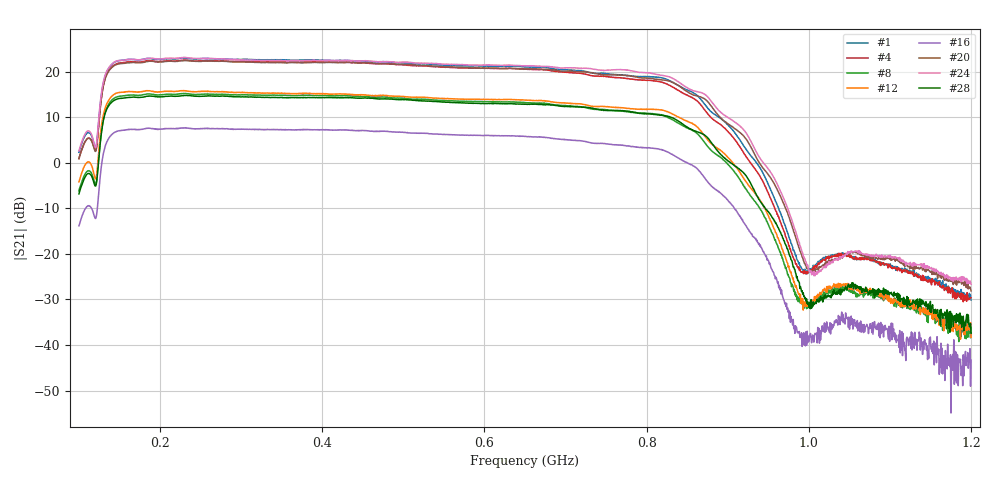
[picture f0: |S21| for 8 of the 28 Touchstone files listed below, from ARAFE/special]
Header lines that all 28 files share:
# Hz S DB R 50
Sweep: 100 MHz to 1.2 GHz
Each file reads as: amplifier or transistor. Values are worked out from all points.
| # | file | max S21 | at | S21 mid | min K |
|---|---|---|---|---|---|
| 1 | SIG0_ATT0_T0.s2p | 23.0 dB | 229.2 MHz | 21.0 dB at 650 MHz | 3.62 |
| 2 | SIG0_ATT0_T20.s2p | 22.7 dB | 227.2 MHz | 20.7 dB at 650 MHz | 3.79 |
| 3 | SIG0_ATT0_T30.s2p | 22.6 dB | 229.2 MHz | 20.6 dB at 650 MHz | 3.86 |
| 4 | SIG0_ATT0_T30_START.s2p | 22.5 dB | 229.2 MHz | 20.5 dB at 650 MHz | 4.09 |
| 5 | SIG0_ATT0_TN10.s2p | 23.2 dB | 229.2 MHz | 21.2 dB at 650 MHz | 3.32 |
| 6 | SIG0_ATT0_TN20.s2p | 23.4 dB | 227.9 MHz | 21.3 dB at 650 MHz | 3.37 |
| 7 | SIG0_ATT30_T0.s2p | 15.5 dB | 229.2 MHz | 13.5 dB at 650 MHz | 14.08 |
| 8 | SIG0_ATT30_T20.s2p | 15.2 dB | 229.2 MHz | 13.2 dB at 650 MHz | 15.15 |
| 9 | SIG0_ATT30_T30.s2p | 15.1 dB | 229.2 MHz | 13.0 dB at 650 MHz | 13.84 |
| 10 | SIG0_ATT30_T30_START.s2p | 15.1 dB | 229.9 MHz | 13.0 dB at 650 MHz | 14.85 |
| 11 | SIG0_ATT30_TN10.s2p | 15.7 dB | 229.2 MHz | 13.6 dB at 650 MHz | 13.43 |
| 12 | SIG0_ATT30_TN20.s2p | 15.9 dB | 229.2 MHz | 13.7 dB at 650 MHz | 11.20 |
| 13 | SIG0_ATT60_T0.s2p | 8.0 dB | 229.2 MHz | 6.2 dB at 650 MHz | 42.91 |
| 14 | SIG0_ATT60_T20.s2p | 7.8 dB | 229.2 MHz | 6.0 dB at 650 MHz | 51.61 |
| 15 | SIG0_ATT60_T30.s2p | 7.7 dB | 229.2 MHz | 5.8 dB at 650 MHz | 47.47 |
| 16 | SIG0_ATT60_T30_START.s2p | 7.7 dB | 232 MHz | 5.8 dB at 650 MHz | 40.22 |
| 17 | SIG0_ATT60_TN10.s2p | 8.2 dB | 227.9 MHz | 6.4 dB at 650 MHz | 38.23 |
| 18 | SIG0_ATT60_TN20.s2p | 8.4 dB | 185.2 MHz | 6.5 dB at 650 MHz | 42.59 |
| 19 | SIG1_ATT0_T0.s2p | 22.8 dB | 229.2 MHz | 20.9 dB at 650 MHz | 3.69 |
| 20 | SIG1_ATT0_T20.s2p | 22.5 dB | 232 MHz | 20.5 dB at 650 MHz | 3.94 |
| 21 | SIG1_ATT0_T30.s2p | 22.3 dB | 232 MHz | 20.4 dB at 650 MHz | 4.20 |
| 22 | SIG1_ATT0_T30_START.s2p | 22.3 dB | 232 MHz | 20.4 dB at 650 MHz | 4.27 |
| 23 | SIG1_ATT0_TN10.s2p | 23.0 dB | 230.6 MHz | 21.1 dB at 650 MHz | 3.74 |
| 24 | SIG1_ATT0_TN20.s2p | 23.2 dB | 229.2 MHz | 21.3 dB at 650 MHz | 3.65 |
| 25 | SIG1_ATT30_T0.s2p | 15.3 dB | 229.2 MHz | 13.3 dB at 650 MHz | 12.29 |
| 26 | SIG1_ATT30_T20.s2p | 15.0 dB | 229.2 MHz | 13.0 dB at 650 MHz | 14.37 |
| 27 | SIG1_ATT30_T30.s2p | 14.8 dB | 232 MHz | 12.8 dB at 650 MHz | 14.54 |
| 28 | SIG1_ATT30_T30_START.s2p | 14.8 dB | 232 MHz | 12.8 dB at 650 MHz | 13.64 |
